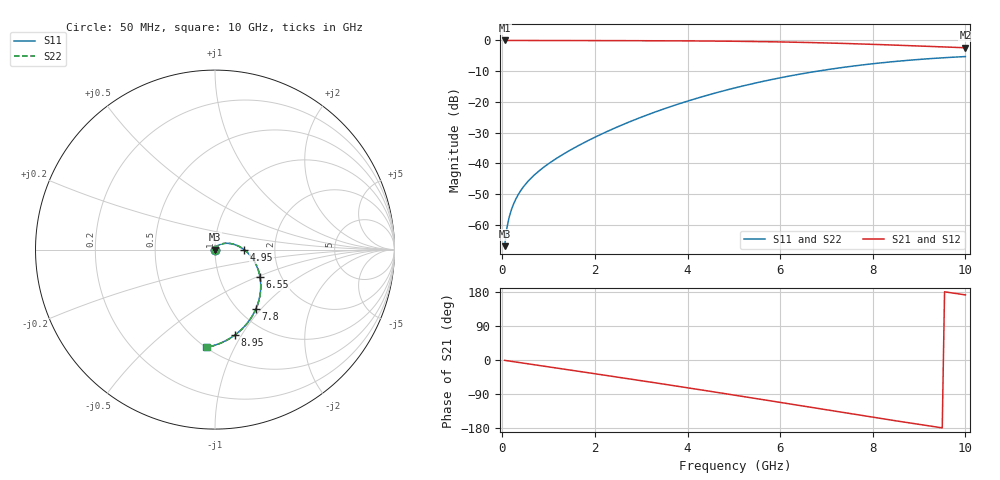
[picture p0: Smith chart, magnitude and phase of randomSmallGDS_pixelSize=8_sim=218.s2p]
! freq	dB(S11)	phase(S11)	dB(S12)	phase(S12)
!  dB(S21)	phase(S21)	dB(S22)	phase(S22)
!S-par simulation data
#  GHz  S  DB  R 50
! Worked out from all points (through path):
!   200 points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, 50 MHz to 10 GHz, reference 50 ohm
!   highest |S21| = 0.00 dB at 50 MHz (marker M1); lowest = -2.4 dB at 10 GHz (marker M2)
!   group delay of S21, straight-line fit = 52.8 ps
!   lowest |S11| = -67.0 dB at 50 MHz (marker M3), VSWR 1.00, Z = 50 + j0.0442 ohm
!   |S11| at or under -10 dB: start of sweep to 6.808 GHz
!   |S22| runs from -67.0 to -5.2 dB; largest |S21 - S12| = 0
!   S11 on the Smith chart (normalised r, x): 50 MHz: 1.00, +0.00; 4.95 GHz: 1.39, -0.00; 6.55 GHz: 1.56, -0.52; 7.8 GHz: 1.19, -0.94; 8.95 GHz: 0.75, -0.94; 10 GHz: 0.50, -0.78
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0.05  -67.03 83.7  -0.00 -0.9  -0.00 -0.9  -67.04 83.7
0.1  -61.04 85.4  -0.00 -1.8  -0.00 -1.8  -61.04 85.4
0.15  -57.51 85.3  -0.00 -2.7  -0.00 -2.7  -57.51 85.3
0.2  -55.00 84.8  -0.00 -3.7  -0.00 -3.7  -55.00 84.8
0.3  -51.44 83.4  -0.01 -5.5  -0.01 -5.5  -51.44 83.4
0.45  -47.83 80.9  -0.01 -8.2  -0.01 -8.2  -47.83 81.0
0.65  -44.44 77.6  -0.02 -11.8  -0.02 -11.8  -44.44 77.7
0.95  -40.69 72.7  -0.02 -17.2  -0.02 -17.2  -40.68 72.8
1.75  -33.42 59.2  -0.04 -31.7  -0.04 -31.7  -33.42 59.4
2.6  -27.44 43.9  -0.06 -47.2  -0.06 -47.2  -27.44 44.1
3.4  -22.78 29.0  -0.10 -62.0  -0.10 -62.0  -22.77 29.2
4.2  -18.85 13.9  -0.16 -77.1  -0.16 -77.1  -18.85 14.1
4.95  -15.73 -0.4  -0.25 -91.5  -0.25 -91.5  -15.73 -0.3
5.05  -15.36 -2.4  -0.27 -93.4  -0.27 -93.4  -15.35 -2.2
5.8  -12.78 -16.9  -0.43 -108.0  -0.43 -108.0  -12.78 -16.7
6.55  -10.64 -31.4  -0.65 -122.7  -0.65 -122.7  -10.64 -31.3
6.7  -10.26 -34.3  -0.70 -125.6  -0.70 -125.6  -10.26 -34.2
7.25  -9.00 -44.9  -0.91 -136.4  -0.91 -136.4  -9.00 -44.8
7.8  -7.93 -55.4  -1.17 -147.1  -1.17 -147.1  -7.93 -55.2
8.35  -7.04 -65.7  -1.45 -157.6  -1.45 -157.6  -7.03 -65.5
8.95  -6.24 -76.6  -1.78 -169.0  -1.78 -169.0  -6.24 -76.4
10  -5.25 -95.1  -2.38 171.8  -2.38 171.8  -5.24 -94.8
